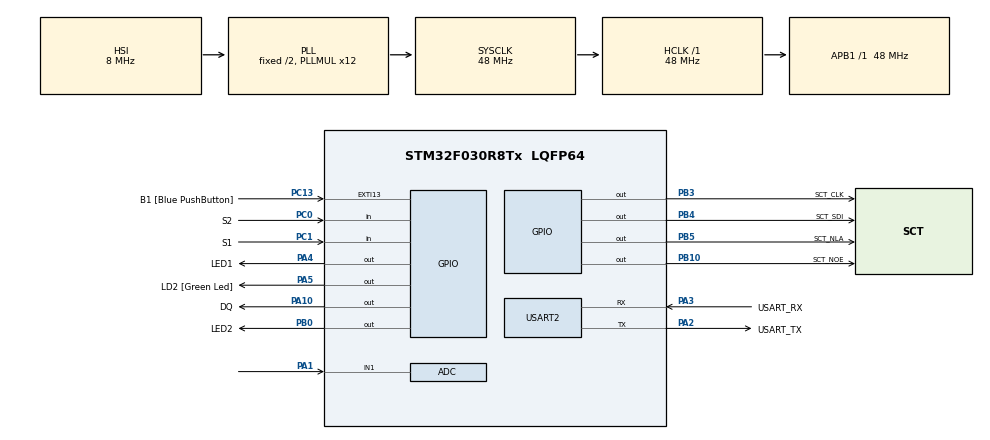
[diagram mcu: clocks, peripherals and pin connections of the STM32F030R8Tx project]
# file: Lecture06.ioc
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ADC.ContinuousConvMode=ENABLE
ADC.Overrun=ADC_OVR_DATA_OVERWRITTEN
ADC.Resolution=ADC_RESOLUTION_10B
Mcu.Family=STM32F0
Mcu.Name=STM32F030R8Tx
Mcu.Package=LQFP64
PA1.Mode=IN1
PA1.Signal=ADC_IN1
PA10.GPIO_Label=DQ
PA10.GPIO_ModeDefaultOutputPP=GPIO_MODE_OUTPUT_OD
PA10.GPIO_PuPd=GPIO_NOPULL
PA10.PinState=GPIO_PIN_SET
PA10.Signal=GPIO_Output
PA13.GPIO_Label=TMS
PA13.Mode=Serial_Wire
PA13.Signal=SYS_SWDIO
PA14.GPIO_Label=TCK
PA14.Mode=Serial_Wire
PA14.Signal=SYS_SWCLK
PA2.GPIO_Label=USART_TX
PA2.GPIO_Mode=GPIO_MODE_AF_PP
PA2.GPIO_PuPd=GPIO_NOPULL
PA2.GPIO_Speed=GPIO_SPEED_FREQ_LOW
PA2.Mode=Asynchronous
PA2.Signal=USART2_TX
PA3.GPIO_Label=USART_RX
PA3.GPIO_Mode=GPIO_MODE_AF_PP
PA3.GPIO_PuPd=GPIO_NOPULL
PA3.GPIO_Speed=GPIO_SPEED_FREQ_LOW
PA3.Mode=Asynchronous
PA3.Signal=USART2_RX
PA4.GPIO_Label=LED1
PA4.Signal=GPIO_Output
PA5.GPIO_Label=LD2 [Green Led]
PA5.GPIO_Mode=GPIO_MODE_OUTPUT_PP
PA5.GPIO_PuPd=GPIO_NOPULL
PA5.GPIO_Speed=GPIO_SPEED_FREQ_LOW
PA5.Signal=GPIO_Output
PB0.GPIO_Label=LED2
PB0.Signal=GPIO_Output
PB10.GPIO_Label=SCT_NOE
PB10.Signal=GPIO_Output
PB3.GPIO_Label=SCT_CLK
PB3.Signal=GPIO_Output
PB4.GPIO_Label=SCT_SDI
PB4.Signal=GPIO_Output
PB5.GPIO_Label=SCT_NLA
PB5.Signal=GPIO_Output
PC0.GPIO_Label=S2
PC0.GPIO_PuPd=GPIO_PULLUP
PC0.Signal=GPIO_Input
PC1.GPIO_Label=S1
PC1.GPIO_PuPd=GPIO_PULLUP
PC1.Signal=GPIO_Input
PC13.GPIO_Label=B1 [Blue PushButton]
PC13.GPIO_ModeDefaultEXTI=GPIO_MODE_IT_FALLING
PC13.Signal=GPXTI13
PC14-OSC32_IN.Mode=LSE-External-Oscillator
PC14-OSC32_IN.Signal=RCC_OSC32_IN
PC15-OSC32_OUT.Mode=LSE-External-Oscillator
PC15-OSC32_OUT.Signal=RCC_OSC32_OUT
PF0-OSC_IN.Mode=HSE-External-Clock-Source
PF0-OSC_IN.Signal=RCC_OSC_IN
PF1-OSC_OUT.Signal=RCC_OSC_OUT
ProjectManager.HeapSize=0x200
ProjectManager.StackSize=0x400
ProjectManager.TargetToolchain=STM32CubeIDE
RCC.AHBFreq_Value=48000000
RCC.APB1Freq_Value=48000000
RCC.APB1TimFreq_Value=48000000
RCC.HCLKFreq_Value=48000000
RCC.PLLMUL=RCC_PLL_MUL12
RCC.SYSCLKFreq_VALUE=48000000
RCC.SYSCLKSource=RCC_SYSCLKSOURCE_PLLCLK
USART2.VirtualMode-Asynchronous=VM_ASYNC
board=NUCLEO-F030R8

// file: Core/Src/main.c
/* USER CODE BEGIN Header */
/**
  ******************************************************************************
  * @file           : main.c
  * @brief          : Main program body
  ******************************************************************************
  * @attention
  *
  * Copyright (c) 2024 STMicroelectronics.
  * All rights reserved.
  *
  * This software is licensed under terms that can be found in the LICENSE file
  * in the root directory of this software component.
  * If no LICENSE file comes with this software, it is provided AS-IS.
  *
  ******************************************************************************
  */
/* USER CODE END Header */
#include "main.h"

/* USER CODE BEGIN Includes */
#include "1wire.h"
#include "sct.h"
/* USER CODE END Includes */

/* USER CODE BEGIN PD */
#define display_DELAY  500
/* USER CODE END PD */

ADC_HandleTypeDef hadc;

UART_HandleTypeDef huart2;

/* USER CODE BEGIN PV */
uint8_t convert = 0;
uint32_t last_tick = 0;
uint32_t last_tick_state = 0;
int16_t data[] = {
  #include "data.dlm"
};
/* USER CODE END PV */

void SystemClock_Config(void);
static void MX_GPIO_Init(void);
static void MX_USART2_UART_Init(void);
static void MX_ADC_Init(void);

int main(void)
{

  /* MCU Configuration--------------------------------------------------------*/

  /* Reset of all peripherals, Initializes the Flash interface and the Systick. */
  HAL_Init();

  /* Configure the system clock */
  SystemClock_Config();

  /* Initialize all configured peripherals */
  MX_GPIO_Init();
  MX_USART2_UART_Init();
  MX_ADC_Init();
  /* USER CODE BEGIN 2 */
  OWInit();
  sct_init();

  HAL_ADCEx_Calibration_Start(&hadc);
  HAL_ADC_Start(&hadc);
  /* USER CODE END 2 */

  /* Infinite loop */
  /* USER CODE BEGIN WHILE */
  while (1)
  {
	static enum { SHOW_DIG, SHOW_NTC} state = SHOW_NTC;
	if (HAL_GPIO_ReadPin(S1_GPIO_Port, S1_Pin) == 0){
	  state = SHOW_DIG;
	}
	if (HAL_GPIO_ReadPin(S2_GPIO_Port, S2_Pin) == 0){
	  state = SHOW_NTC;
	}

	if (state == SHOW_DIG){
      last_tick_state = HAL_GetTick();
	  HAL_GPIO_WritePin(LED1_GPIO_Port,LED1_Pin, 0);
	  HAL_GPIO_WritePin(LED2_GPIO_Port,LED2_Pin, 1);
	  // 1wire DHT temperature sensor
	  if (!convert){
		convert = 1;
		OWConvertAll();
	  }
	  if (HAL_GetTick() > last_tick + CONVERT_T_DELAY){
	    last_tick = HAL_GetTick();
		int16_t value;
		if (OWReadTemperature(&value)){
		  sct_value(value/10, 0, 0);
		  convert = 0;
		}
	  }
	}

	if (state == SHOW_NTC && HAL_GetTick() > last_tick_state + display_DELAY){
	  last_tick_state = HAL_GetTick();
	  HAL_GPIO_WritePin(LED2_GPIO_Port,LED2_Pin, 0);
	  HAL_GPIO_WritePin(LED1_GPIO_Port,LED1_Pin, 1);
	  // NTC termistor via ADC
	  uint32_t result;
	  result = HAL_ADC_GetValue(&hadc);
	  sct_value(data[result],0,0);
	}

    /* USER CODE END WHILE */

  }
}

void SystemClock_Config(void)
{
  RCC_OscInitTypeDef RCC_OscInitStruct = {0};
  RCC_ClkInitTypeDef RCC_ClkInitStruct = {0};

  /** Initializes the RCC Oscillators according to the specified parameters
  * in the RCC_OscInitTypeDef structure.
  */
  RCC_OscInitStruct.OscillatorType = RCC_OSCILLATORTYPE_HSI|RCC_OSCILLATORTYPE_HSI14;
  RCC_OscInitStruct.HSIState = RCC_HSI_ON;
  RCC_OscInitStruct.HSI14State = RCC_HSI14_ON;
  RCC_OscInitStruct.HSICalibrationValue = RCC_HSICALIBRATION_DEFAULT;
  RCC_OscInitStruct.HSI14CalibrationValue = 16;
  RCC_OscInitStruct.PLL.PLLState = RCC_PLL_ON;
  RCC_OscInitStruct.PLL.PLLSource = RCC_PLLSOURCE_HSI;
  RCC_OscInitStruct.PLL.PLLMUL = RCC_PLL_MUL12;
  RCC_OscInitStruct.PLL.PREDIV = RCC_PREDIV_DIV1;
  if (HAL_RCC_OscConfig(&RCC_OscInitStruct) != HAL_OK)
  {
    Error_Handler();
  }

  /** Initializes the CPU, AHB and APB buses clocks
  */
  RCC_ClkInitStruct.ClockType = RCC_CLOCKTYPE_HCLK|RCC_CLOCKTYPE_SYSCLK
                              |RCC_CLOCKTYPE_PCLK1;
  RCC_ClkInitStruct.SYSCLKSource = RCC_SYSCLKSOURCE_PLLCLK;
  RCC_ClkInitStruct.AHBCLKDivider = RCC_SYSCLK_DIV1;
  RCC_ClkInitStruct.APB1CLKDivider = RCC_HCLK_DIV1;

  if (HAL_RCC_ClockConfig(&RCC_ClkInitStruct, FLASH_LATENCY_1) != HAL_OK)
  {
    Error_Handler();
  }
}

static void MX_ADC_Init(void)
{

  ADC_ChannelConfTypeDef sConfig = {0};

  /** Configure the global features of the ADC (Clock, Resolution, Data Alignment and number of conversion)
  */
  hadc.Instance = ADC1;
  hadc.Init.ClockPrescaler = ADC_CLOCK_ASYNC_DIV1;
  hadc.Init.Resolution = ADC_RESOLUTION_10B;
  hadc.Init.DataAlign = ADC_DATAALIGN_RIGHT;
  hadc.Init.ScanConvMode = ADC_SCAN_DIRECTION_FORWARD;
  hadc.Init.EOCSelection = ADC_EOC_SINGLE_CONV;
  hadc.Init.LowPowerAutoWait = DISABLE;
  hadc.Init.LowPowerAutoPowerOff = DISABLE;
  hadc.Init.ContinuousConvMode = ENABLE;
  hadc.Init.DiscontinuousConvMode = DISABLE;
  hadc.Init.ExternalTrigConv = ADC_SOFTWARE_START;
  hadc.Init.ExternalTrigConvEdge = ADC_EXTERNALTRIGCONVEDGE_NONE;
  hadc.Init.DMAContinuousRequests = DISABLE;
  hadc.Init.Overrun = ADC_OVR_DATA_OVERWRITTEN;
  if (HAL_ADC_Init(&hadc) != HAL_OK)
  {
    Error_Handler();
  }

  /** Configure for the selected ADC regular channel to be converted.
  */
  sConfig.Channel = ADC_CHANNEL_1;
  sConfig.Rank = ADC_RANK_CHANNEL_NUMBER;
  sConfig.SamplingTime = ADC_SAMPLETIME_1CYCLE_5;
  if (HAL_ADC_ConfigChannel(&hadc, &sConfig) != HAL_OK)
  {
    Error_Handler();
  }

}

static void MX_USART2_UART_Init(void)
{

  huart2.Instance = USART2;
  huart2.Init.BaudRate = 38400;
  huart2.Init.WordLength = UART_WORDLENGTH_8B;
  huart2.Init.StopBits = UART_STOPBITS_1;
  huart2.Init.Parity = UART_PARITY_NONE;
  huart2.Init.Mode = UART_MODE_TX_RX;
  huart2.Init.HwFlowCtl = UART_HWCONTROL_NONE;
  huart2.Init.OverSampling = UART_OVERSAMPLING_16;
  huart2.Init.OneBitSampling = UART_ONE_BIT_SAMPLE_DISABLE;
  huart2.AdvancedInit.AdvFeatureInit = UART_ADVFEATURE_NO_INIT;
  if (HAL_UART_Init(&huart2) != HAL_OK)
  {
    Error_Handler();
  }

}

static void MX_GPIO_Init(void)
{
  GPIO_InitTypeDef GPIO_InitStruct = {0};

  /* GPIO Ports Clock Enable */
  __HAL_RCC_GPIOC_CLK_ENABLE();
  __HAL_RCC_GPIOF_CLK_ENABLE();
  __HAL_RCC_GPIOA_CLK_ENABLE();
  __HAL_RCC_GPIOB_CLK_ENABLE();

  /*Configure GPIO pin Output Level */
  HAL_GPIO_WritePin(GPIOA, LED1_Pin|LD2_Pin, GPIO_PIN_RESET);

  /*Configure GPIO pin Output Level */
  HAL_GPIO_WritePin(GPIOB, LED2_Pin|SCT_NOE_Pin|SCT_CLK_Pin|SCT_SDI_Pin
                          |SCT_NLA_Pin, GPIO_PIN_RESET);

  /*Configure GPIO pin Output Level */
  HAL_GPIO_WritePin(DQ_GPIO_Port, DQ_Pin, GPIO_PIN_SET);

  /*Configure GPIO pin : B1_Pin */
  GPIO_InitStruct.Pin = B1_Pin;
  GPIO_InitStruct.Mode = GPIO_MODE_IT_FALLING;
  GPIO_InitStruct.Pull = GPIO_NOPULL;
  HAL_GPIO_Init(B1_GPIO_Port, &GPIO_InitStruct);

  /*Configure GPIO pins : S2_Pin S1_Pin */
  GPIO_InitStruct.Pin = S2_Pin|S1_Pin;
  GPIO_InitStruct.Mode = GPIO_MODE_INPUT;
  GPIO_InitStruct.Pull = GPIO_PULLUP;
  HAL_GPIO_Init(GPIOC, &GPIO_InitStruct);

  /*Configure GPIO pins : LED1_Pin LD2_Pin */
  GPIO_InitStruct.Pin = LED1_Pin|LD2_Pin;
  GPIO_InitStruct.Mode = GPIO_MODE_OUTPUT_PP;
  GPIO_InitStruct.Pull = GPIO_NOPULL;
  GPIO_InitStruct.Speed = GPIO_SPEED_FREQ_LOW;
  HAL_GPIO_Init(GPIOA, &GPIO_InitStruct);

  /*Configure GPIO pins : LED2_Pin SCT_NOE_Pin SCT_CLK_Pin SCT_SDI_Pin
                           SCT_NLA_Pin */
  GPIO_InitStruct.Pin = LED2_Pin|SCT_NOE_Pin|SCT_CLK_Pin|SCT_SDI_Pin
                          |SCT_NLA_Pin;
  GPIO_InitStruct.Mode = GPIO_MODE_OUTPUT_PP;
  GPIO_InitStruct.Pull = GPIO_NOPULL;
  GPIO_InitStruct.Speed = GPIO_SPEED_FREQ_LOW;
  HAL_GPIO_Init(GPIOB, &GPIO_InitStruct);

  /*Configure GPIO pin : DQ_Pin */
  GPIO_InitStruct.Pin = DQ_Pin;
  GPIO_InitStruct.Mode = GPIO_MODE_OUTPUT_OD;
  GPIO_InitStruct.Pull = GPIO_NOPULL;
  GPIO_InitStruct.Speed = GPIO_SPEED_FREQ_LOW;
  HAL_GPIO_Init(DQ_GPIO_Port, &GPIO_InitStruct);

}

void Error_Handler(void)
{
  __disable_irq();
  while (1)
  {
  }
}
